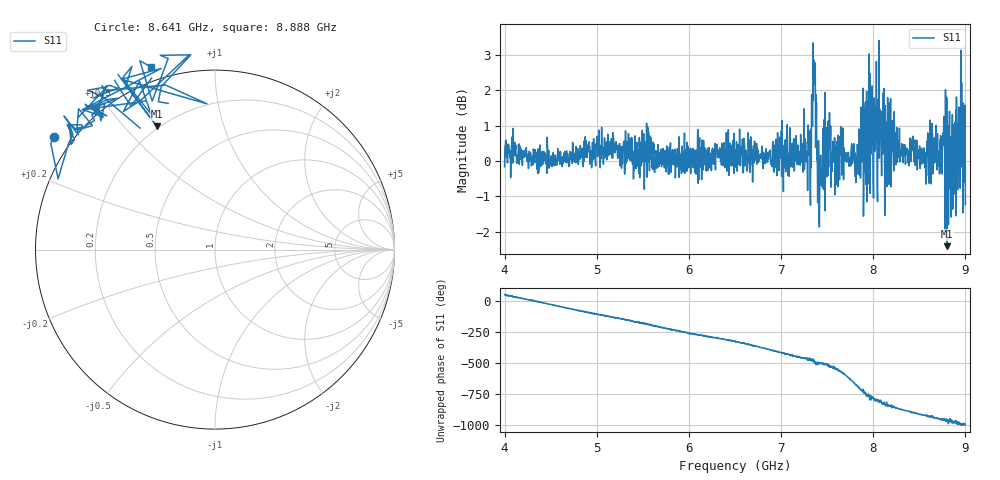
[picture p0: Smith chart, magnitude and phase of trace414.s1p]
! Created with skrf 1.8.0 (http://scikit-rf.org).
# Hz S RI R 50.0
!freq ReS11 ImS11
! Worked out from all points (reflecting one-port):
!   1601 points, 4 GHz to 9 GHz, reference 50 ohm
!   lowest |S11| = -2.4 dB at 8.803 GHz (marker M1), VSWR 7.28, Z = 9.56 + j30.9 ohm
!   phase of S11 starts at 54 deg and turns -1046 deg over the sweep
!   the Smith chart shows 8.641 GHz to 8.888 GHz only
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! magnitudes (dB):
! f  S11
! 4 GHz  -0.2
! 4.625 GHz  -0.2
! 5.25 GHz  -0.1
! 5.875 GHz  0.3
! 6.5 GHz  0.3
! 7.125 GHz  0.5
! 7.303 GHz  0.2
! 7.356 GHz  2.8
! 7.369 GHz  2.8
! 7.4 GHz  -0.1
! 7.422 GHz  -0.5
! 7.503 GHz  0.6
! 7.566 GHz  0.0
! 7.65 GHz  0.7
! 7.75 GHz  -0.1
! 7.819 GHz  -0.2
! 7.928 GHz  2.0
! 7.981 GHz  1.5
! 8.097 GHz  0.4
! 8.216 GHz  0.8
! 8.375 GHz  0.2
! 8.556 GHz  0.0
! 8.775 GHz  1.1
! 8.803 GHz  -2.4
! 8.856 GHz  0.8
! 8.947 GHz  0.1
! 8.972 GHz  0.5
! 9 GHz  -1.2
